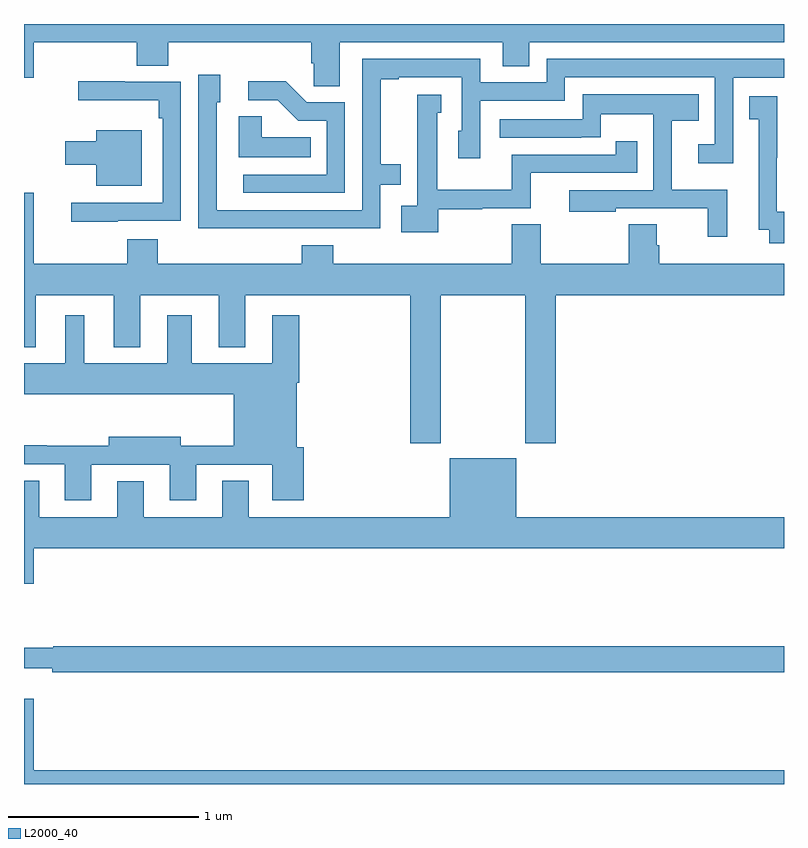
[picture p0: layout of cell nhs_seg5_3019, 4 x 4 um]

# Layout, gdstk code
import gdstk
lib = gdstk.Library(unit=1e-6, precision=1e-09)
def P(c, l, *ps):  # polygons
    for p in ps: c.add(gdstk.Polygon(p, *l))
L2000_40 = (2000, 40)

nhs_seg5_3019 = lib.new_cell('nhs_seg5_3019')
P(nhs_seg5_3019, L2000_40, [(286.663,912.704),(287.519,912.704),(287.519,912.577),(287.659,912.577),(287.659,912.704),(289,912.704),(289,912.799),(285,912.799),(285,912.516),(285.052,912.516),(285.052,912.704),(285.593,912.704),(285.593,912.58),(285.758,912.58),(285.758,912.704),(286.511,912.704),(286.511,912.592),(286.525,912.592),(286.525,912.472),(286.663,912.472)],
  [(286.379,911.724),(286.875,911.724),(286.875,911.952),(286.984,911.952),(286.984,912.061),(286.877,912.061),(286.877,912.507),(286.972,912.507),(286.972,912.519),(287.304,912.519),(287.304,912.237),(287.285,912.237),(287.285,912.093),(287.4,912.093),(287.4,912.396),(287.847,912.396),(287.847,912.519),(288.636,912.519),(288.636,912.166),(288.549,912.166),(288.549,912.065),(288.732,912.065),(288.732,912.515),(289,912.515),(289,912.616),(288.739,912.616),(288.739,912.615),(287.751,912.615),(287.751,912.492),(287.4,912.492),(287.4,912.615),(286.779,912.615),(286.779,911.82),(286.014,911.82),(286.014,912.387),(286.033,912.387),(286.033,912.532),(285.918,912.532),(285.918,911.723),(286.379,911.723)],
  [(285.493,911.763),(285.825,911.763),(285.825,912.495),(285.529,912.495),(285.529,912.499),(285.285,912.499),(285.285,912.398),(285.709,912.398),(285.709,912.302),(285.729,912.302),(285.729,911.859),(285.249,911.859),(285.249,911.759),(285.493,911.759)],
  [(286.689,912.387),(286.488,912.387),(286.378,912.497),(286.179,912.497),(286.179,912.399),(286.335,912.399),(286.443,912.291),(286.593,912.291),(286.593,912.006),(286.155,912.006),(286.155,911.91),(286.689,911.91)],
  [(288.7,911.926),(288.409,911.926),(288.409,912.29),(288.551,912.29),(288.551,912.43),(287.94,912.43),(287.94,912.297),(287.505,912.297),(287.505,912.201),(287.933,912.201),(287.933,912.202),(288.036,912.202),(288.036,912.323),(288.312,912.323),(288.312,911.925),(287.871,911.925),(287.871,911.81),(288.115,911.81),(288.115,911.829),(288.598,911.829),(288.598,911.679),(288.7,911.679)],
  [(287.179,911.824),(287.412,911.824),(287.412,911.829),(287.666,911.829),(287.666,912.015),(288.227,912.015),(288.227,912.181),(288.114,912.181),(288.114,912.111),(287.567,912.111),(287.567,911.926),(287.176,911.926),(287.176,912.333),(287.197,912.333),(287.197,912.426),(287.069,912.426),(287.069,911.938),(287.07,911.938),(287.07,911.842),(286.986,911.842),(286.986,911.702),(287.179,911.702)],
  [(289,911.811),(288.963,911.811),(288.963,912.094),(288.964,912.094),(288.964,912.418),(288.817,912.418),(288.817,912.297),(288.866,912.297),(288.866,911.715),(288.923,911.715),(288.923,911.645),(289,911.645)],
  [(286.508,912.202),(286.252,912.202),(286.252,912.314),(286.13,912.314),(286.13,912.098),(286.508,912.098)],
  [(285.619,912.241),(285.38,912.241),(285.38,912.181),(285.216,912.181),(285.216,912.059),(285.38,912.059),(285.38,911.948),(285.619,911.948)],
  [(287.721,911.744),(287.566,911.744),(287.566,911.536),(286.628,911.536),(286.628,911.635),(286.463,911.635),(286.463,911.536),(285.704,911.536),(285.704,911.665),(285.544,911.665),(285.544,911.536),(285.052,911.536),(285.052,911.911),(285,911.911),(285,911.099),(285.061,911.099),(285.061,911.372),(285.473,911.372),(285.473,911.099),(285.613,911.099),(285.613,911.372),(286.025,911.372),(286.025,911.099),(286.165,911.099),(286.165,911.372),(287.033,911.372),(287.033,910.593),(287.193,910.593),(287.193,911.372),(287.638,911.372),(287.638,910.593),(287.798,910.593),(287.798,911.372),(289,911.372),(289,911.536),(288.344,911.536),(288.344,911.634),(288.331,911.634),(288.331,911.744),(288.184,911.744),(288.184,911.536),(287.721,911.536)],
  [(285.355,910.479),(285.561,910.479),(285.561,910.478),(285.767,910.478),(285.767,910.293),(285.907,910.293),(285.907,910.479),(286.307,910.479),(286.307,910.293),(286.472,910.293),(286.472,910.572),(286.435,910.572),(286.435,910.91),(286.448,910.91),(286.448,911.266),(286.307,911.266),(286.307,911.014),(285.883,911.014),(285.883,911.266),(285.755,911.266),(285.755,911.014),(285.316,911.014),(285.316,911.266),(285.218,911.266),(285.218,911.014),(285,911.014),(285,910.85),(286.103,910.85),(286.103,910.58),(285.826,910.58),(285.826,910.627),(285.446,910.627),(285.446,910.58),(285.119,910.58),(285.119,910.583),(285,910.583),(285,910.482),(285.215,910.482),(285.215,910.293),(285.355,910.293)],
  [(285.052,910.04),(289,910.04),(289,910.204),(287.59,910.204),(287.59,910.513),(287.24,910.513),(287.24,910.204),(286.183,910.204),(286.183,910.394),(286.043,910.394),(286.043,910.204),(285.631,910.204),(285.631,910.393),(285.491,910.393),(285.491,910.204),(285.079,910.204),(285.079,910.394),(285,910.394),(285,909.852),(285.052,909.852)],
  [(289,909.524),(285.155,909.524),(285.155,909.517),(285,909.517),(285,909.407),(285.148,909.407),(285.148,909.388),(289,909.388)],
  [(289,908.872),(285.052,908.872),(285.052,909.247),(285,909.247),(285,908.799),(289,908.799)])

lib.write_gds('nhs_seg5_3019.gds')
